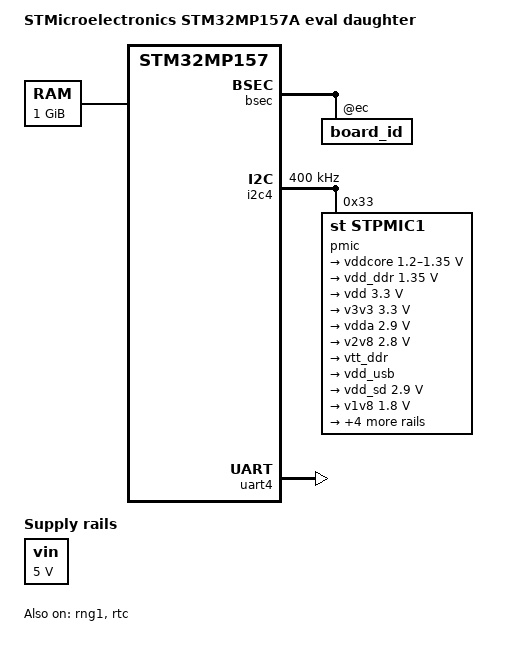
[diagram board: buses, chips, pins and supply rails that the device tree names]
// SPDX-License-Identifier: (GPL-2.0+ OR BSD-3-Clause)
/*
 * Copyright (C) STMicroelectronics 2017-2022 - All Rights Reserved
 * Author: Alexandre Torgue <alexandre.torgue@foss.st.com> for STMicroelectronics.
 */

/dts-v1/;

#include <dt-bindings/clock/stm32mp1-clksrc.h>
#include <dt-bindings/mfd/st,stpmic1.h>
#include <dt-bindings/soc/stm32mp15-etzpc.h>

#include "stm32mp157.dtsi"
#include "stm32mp15xa.dtsi"
#include "stm32mp15-pinctrl.dtsi"
#include "stm32mp15xxaa-pinctrl.dtsi"

/ {

	model = "STMicroelectronics STM32MP157A eval daughter";
	compatible = "st,stm32mp157a-ed1", "st,stm32mp157";

	chosen {
		stdout-path = "serial0:115200n8";
	};

	memory@c0000000 {
		device_type = "memory";
		reg = <0xC0000000 0x40000000>;
	};

	aliases {
		serial0 = &uart4;
	};

	vin: vin {
		compatible = "regulator-fixed";
		regulator-name = "vin";
		regulator-min-microvolt = <5000000>;
		regulator-max-microvolt = <5000000>;
		regulator-always-on;
	};
};

&bsec {
	board_id: board_id@ec {
		reg = <0xec 0x4>;
		st,non-secure-otp;
	};
};

&clk_hse {
	st,digbypass;
};

&cpu0{
	cpu-supply = <&vddcore>;
};

&cpu1{
	cpu-supply = <&vddcore>;
};

&etzpc {
	st,decprot = <
		DECPROT(STM32MP1_ETZPC_USART1_ID, DECPROT_NS_RW, DECPROT_UNLOCK)
		DECPROT(STM32MP1_ETZPC_SPI6_ID, DECPROT_NS_RW, DECPROT_UNLOCK)
		DECPROT(STM32MP1_ETZPC_I2C4_ID, DECPROT_NS_RW, DECPROT_UNLOCK)
		DECPROT(STM32MP1_ETZPC_I2C6_ID, DECPROT_NS_RW, DECPROT_UNLOCK)
		DECPROT(STM32MP1_ETZPC_RNG1_ID, DECPROT_S_RW, DECPROT_UNLOCK)
		DECPROT(STM32MP1_ETZPC_HASH1_ID, DECPROT_NS_RW, DECPROT_UNLOCK)
		DECPROT(STM32MP1_ETZPC_DDRCTRL_ID, DECPROT_NS_R_S_W, DECPROT_LOCK)
		DECPROT(STM32MP1_ETZPC_DDRPHYC_ID, DECPROT_NS_R_S_W, DECPROT_LOCK)
		DECPROT(STM32MP1_ETZPC_STGENC_ID, DECPROT_S_RW, DECPROT_LOCK)
		DECPROT(STM32MP1_ETZPC_BKPSRAM_ID, DECPROT_S_RW, DECPROT_LOCK)
		DECPROT(STM32MP1_ETZPC_IWDG1_ID, DECPROT_S_RW, DECPROT_LOCK)
	>;
};

&i2c4 {
	pinctrl-names = "default";
	pinctrl-0 = <&i2c4_pins_a>;
	i2c-scl-rising-time-ns = <185>;
	i2c-scl-falling-time-ns = <20>;
	clock-frequency = <400000>;
	status = "okay";

	pmic: stpmic@33 {
		compatible = "st,stpmic1";
		reg = <0x33>;
		interrupt-controller;
		#interrupt-cells = <2>;
		status = "okay";

		regulators {
			compatible = "st,stpmic1-regulators";
			buck1-supply = <&vin>;
			buck2-supply = <&vin>;
			buck3-supply = <&vin>;
			buck4-supply = <&vin>;
			ldo1-supply = <&v3v3>;
			ldo2-supply = <&v3v3>;
			ldo3-supply = <&vdd_ddr>;
			ldo4-supply = <&vin>;
			ldo5-supply = <&v3v3>;
			ldo6-supply = <&v3v3>;
			vref_ddr-supply = <&vin>;
			boost-supply = <&vin>;
			pwr_sw1-supply = <&bst_out>;
			pwr_sw2-supply = <&bst_out>;

			vddcore: buck1 {
				regulator-name = "vddcore";
				regulator-min-microvolt = <1200000>;
				regulator-max-microvolt = <1350000>;
				regulator-always-on;
				regulator-initial-mode = <0>;
				regulator-over-current-protection;
			};

			vdd_ddr: buck2 {
				regulator-name = "vdd_ddr";
				regulator-min-microvolt = <1350000>;
				regulator-max-microvolt = <1350000>;
				regulator-always-on;
				regulator-initial-mode = <0>;
				regulator-over-current-protection;
			};

			vdd: buck3 {
				regulator-name = "vdd";
				regulator-min-microvolt = <3300000>;
				regulator-max-microvolt = <3300000>;
				regulator-always-on;
				st,mask-reset;
				regulator-initial-mode = <0>;
				regulator-over-current-protection;
			};

			v3v3: buck4 {
				regulator-name = "v3v3";
				regulator-min-microvolt = <3300000>;
				regulator-max-microvolt = <3300000>;
				regulator-always-on;
				regulator-over-current-protection;
				regulator-initial-mode = <0>;
			};

			vdda: ldo1 {
				regulator-name = "vdda";
				regulator-min-microvolt = <2900000>;
				regulator-max-microvolt = <2900000>;
			};

			v2v8: ldo2 {
				regulator-name = "v2v8";
				regulator-min-microvolt = <2800000>;
				regulator-max-microvolt = <2800000>;
			};

			vtt_ddr: ldo3 {
				regulator-name = "vtt_ddr";
				regulator-always-on;
				regulator-over-current-protection;
				st,regulator-sink-source;
			};

			vdd_usb: ldo4 {
				regulator-name = "vdd_usb";
			};

			vdd_sd: ldo5 {
				regulator-name = "vdd_sd";
				regulator-min-microvolt = <2900000>;
				regulator-max-microvolt = <2900000>;
				regulator-boot-on;
			};

			v1v8: ldo6 {
				regulator-name = "v1v8";
				regulator-min-microvolt = <1800000>;
				regulator-max-microvolt = <1800000>;
			};

			vref_ddr: vref_ddr {
				regulator-name = "vref_ddr";
				regulator-always-on;
				regulator-over-current-protection;
			};

			bst_out: boost {
				regulator-name = "bst_out";
			};

			vbus_otg: pwr_sw1 {
				regulator-name = "vbus_otg";
			};

			vbus_sw: pwr_sw2 {
				regulator-name = "vbus_sw";
				regulator-active-discharge = <1>;
			};
		};
	};
};

&rcc {
	st,clksrc = <
		CLK_MPU_PLL1P
		CLK_AXI_PLL2P
		CLK_MCU_PLL3P
		CLK_PLL12_HSE
		CLK_PLL3_HSE
		CLK_PLL4_HSE
		CLK_RTC_LSE
		CLK_MCO1_DISABLED
		CLK_MCO2_DISABLED
	>;

	st,clkdiv = <
		1 /*MPU*/
		0 /*AXI*/
		0 /*MCU*/
		1 /*APB1*/
		1 /*APB2*/
		1 /*APB3*/
		1 /*APB4*/
		2 /*APB5*/
		23 /*RTC*/
		0 /*MCO1*/
		0 /*MCO2*/
	>;

	st,pkcs = <
		CLK_CKPER_HSE
		CLK_FMC_ACLK
		CLK_QSPI_ACLK
		CLK_ETH_PLL4P
		CLK_SDMMC12_PLL4P
		CLK_DSI_DSIPLL
		CLK_STGEN_HSE
		CLK_USBPHY_HSE
		CLK_SPI2S1_PLL3Q
		CLK_SPI2S23_PLL3Q
		CLK_SPI45_HSI
		CLK_SPI6_HSI
		CLK_I2C46_HSI
		CLK_SDMMC3_PLL4P
		CLK_USBO_USBPHY
		CLK_ADC_CKPER
		CLK_CEC_LSE
		CLK_I2C12_HSI
		CLK_I2C35_HSI
		CLK_UART1_HSI
		CLK_UART24_HSI
		CLK_UART35_HSI
		CLK_UART6_HSI
		CLK_UART78_HSI
		CLK_SPDIF_PLL4P
		CLK_FDCAN_PLL4R
		CLK_SAI1_PLL3Q
		CLK_SAI2_PLL3Q
		CLK_SAI3_PLL3Q
		CLK_SAI4_PLL3Q
		CLK_RNG1_CSI
		CLK_RNG2_LSI
		CLK_LPTIM1_PCLK1
		CLK_LPTIM23_PCLK3
		CLK_LPTIM45_LSE
	>;

	/* VCO = 1066.0 MHz => P = 266 (AXI), Q = 533 (GPU), R = 533 (DDR) */
	pll2: st,pll@1 {
		compatible = "st,stm32mp1-pll";
		reg = <1>;
		cfg = <2 65 1 0 0 PQR(1,1,1)>;
		frac = <0x1400>;
	};

	/* VCO = 417.8 MHz => P = 209, Q = 24, R = 11 */
	pll3: st,pll@2 {
		compatible = "st,stm32mp1-pll";
		reg = <2>;
		cfg = <1 33 1 16 36 PQR(1,1,1)>;
		frac = <0x1a04>;
	};

	/* VCO = 594.0 MHz => P = 99, Q = 74, R = 74 */
	pll4: st,pll@3 {
		compatible = "st,stm32mp1-pll";
		reg = <3>;
		cfg = <3 98 5 7 7 PQR(1,1,1)>;
	};
};

&rng1 {
	status = "okay";
};

&rtc {
	status = "okay";
};

&uart4 {
	pinctrl-names = "default";
	pinctrl-0 = <&uart4_pins_a>;
	status = "okay";
};
